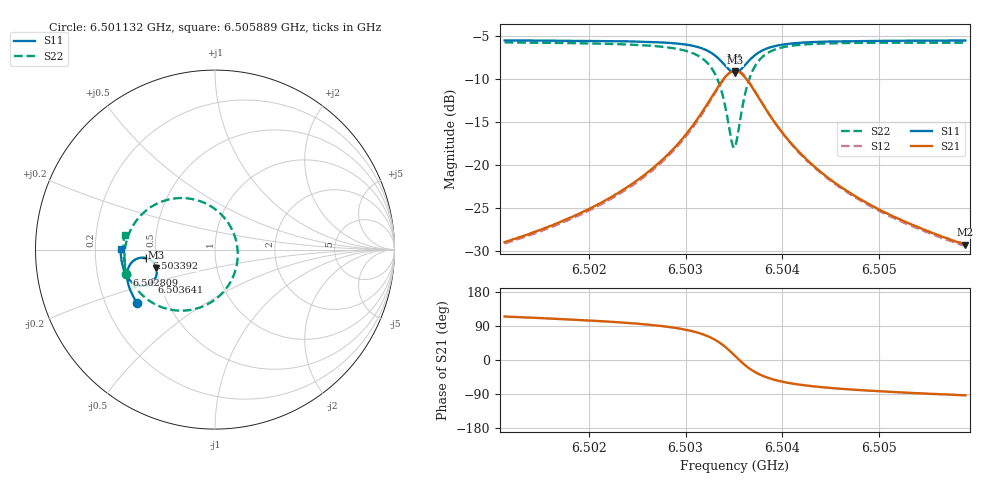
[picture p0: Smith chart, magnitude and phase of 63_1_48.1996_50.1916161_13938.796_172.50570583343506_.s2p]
#  HZ  S  RI  R  50.00
! Rohde & Schwarz Vector Network Analyzer
! Rohde-Schwarz,ZNB20-2Port,1311601062101988,3.16
! Created: UTC 3/20/2024, 11:38:51 AM
! freq[Hz]  re:S11  im:S11  re:S21  im:S21  re:S12  im:S12  re:S22  im:S22
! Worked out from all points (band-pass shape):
!   401 points, 6.501132 GHz to 6.505889 GHz, reference 50 ohm
!   highest |S21| = -9.10 dB at 6.503511 GHz (marker M1); lowest = -29.3 dB at 6.505889 GHz (marker M2)
!   |S21| within 3 dB of the highest: 6.503273 GHz to 6.503748 GHz (475.1 kHz wide, 0.00731 % of centre)
!   lowest |S11| = -9.3 dB at 6.503511 GHz (marker M3), VSWR 2.04, Z = 24.9 - j5.71 ohm
!   |S11| at or under -10 dB: nowhere
!   |S22| runs from -18.0 to -5.8 dB; largest |S21 - S12| = 0.012
!   S11 on the Smith chart (normalised r, x): 6.501132 GHz: 0.34, -0.28; 6.502809 GHz: 0.33, -0.13; 6.503392 GHz: 0.44, -0.05; 6.503641 GHz: 0.46, -0.20; 6.505889 GHz: 0.31, +0.00
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6.5011322e9  -0.4344 -0.2974  -0.0149 0.0322  -0.013 0.0322  -0.4945 -0.1365
6.501929e9  -0.4675 -0.2369  -0.0138 0.0509  -0.0114 0.0503  -0.5045 -0.0483
6.5023571e9  -0.482 -0.1977  -0.0107 0.0707  -0.00765 0.0694  -0.4997 0.0155
6.5027258e9  -0.4898 -0.1552  -0.000693 0.1024  0.00308 0.0998  -0.4771 0.094
6.502809e9  -0.4903 -0.1436  0.0044 0.113  0.00813 0.1101  -0.466 0.1173
6.5030112e9  -0.4854 -0.1094  0.0278 0.1488  0.0315 0.1442  -0.417 0.1868
6.5031539e9  -0.4704 -0.0792  0.0667 0.1833  0.0695 0.1773  -0.3411 0.2467
6.5032966e9  -0.431 -0.0494  0.1517 0.2124  0.1521 0.2061  -0.1864 0.2874
6.5033917e9  -0.3826 -0.0473  0.2462 0.1946  0.2462 0.1899  -0.0226 0.241
6.503475e9  -0.3384 -0.0781  0.3266 0.1166  0.3292 0.1126  0.1059 0.0869
6.5035107e9  -0.3274 -0.1011  0.3445 0.066  0.3483 0.0604  0.1265 -0.00866
6.5035344e9  -0.3243 -0.118  0.3477 0.0302  0.3518 0.0233  0.1232 -0.0743
6.5035701e9  -0.3267 -0.143  0.3396 -0.0217  0.3433 -0.031  0.0938 -0.1667
6.5036415e9  -0.3498 -0.1813  0.2906 -0.1001  0.2905 -0.1121  -0.0218 -0.2931
6.5037366e9  -0.3921 -0.2017  0.2097 -0.1442  0.2044 -0.1546  -0.1871 -0.3403
6.503808e9  -0.4189 -0.2016  0.1605 -0.1494  0.1534 -0.1574  -0.279 -0.3268
6.5038912e9  -0.4426 -0.1943  0.1187 -0.143  0.1112 -0.1486  -0.3523 -0.2938
6.5040577e9  -0.4724 -0.1731  0.0694 -0.1211  0.0626 -0.1237  -0.4322 -0.2244
6.5043074e9  -0.4952 -0.142  0.0355 -0.0934  0.0305 -0.094  -0.4809 -0.1448
6.5047118e9  -0.5124 -0.0986  0.0142 -0.0662  0.0109 -0.0657  -0.5056 -0.0602
6.5051042e9  -0.5206 -0.0618  0.00546 -0.051  0.003 -0.0501  -0.5107 -0.00239
6.5058891e9  -0.5261 0.00562  -0.00193 -0.0342  -0.00327 -0.0334  -0.5038 0.0841
